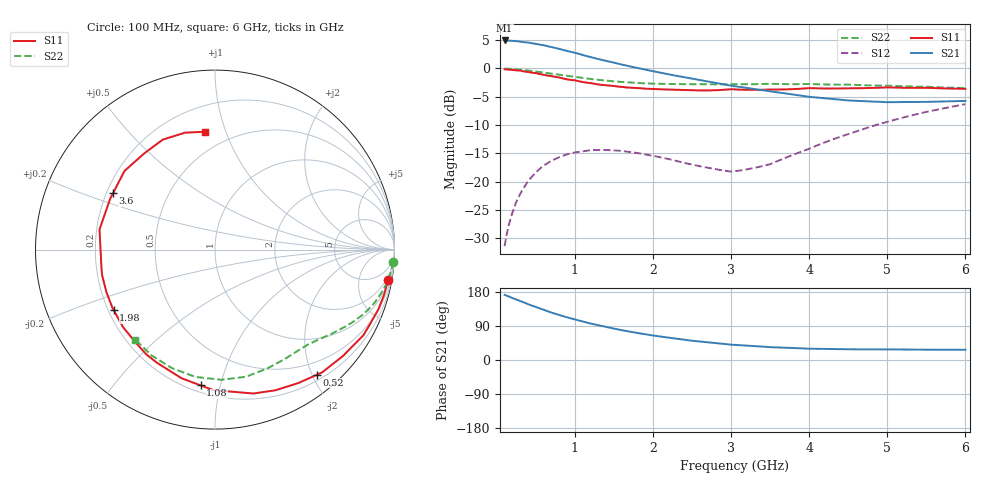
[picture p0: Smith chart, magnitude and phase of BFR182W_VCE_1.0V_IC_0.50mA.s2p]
! Infineon Technologies  Discrete & RF Semiconductors
! BFR182W
! VCE =  1.0 V,  IC = 0.50 mA
! Common Emitter S-Parameters:  Nov 2015
# GHz  S  MA  R  50
!  f  S11  S21  S12  S22
! GHz  MAG  ANG  MAG  ANG  MAG  ANG  MAG  ANG
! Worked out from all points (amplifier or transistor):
!   192 points, 100 MHz to 6 GHz, reference 50 ohm
!   highest |S21| = 4.9 dB at 100 MHz (marker M1)
!   |S21| within 3 dB of that: start of sweep to 1.22 GHz
!   unconditionally stable (mu >= 1): 2.374 GHz to 3.778 GHz
!   at 440 MHz: K = 0.19, MSG = 11.9 dB, |S12| = -19.3 dB
!   at 1.7 GHz: K = 0.70, MSG = 7.6 dB, |S12| = -14.8 dB
!   at 6 GHz: K = 0.95, MSG = 0.3 dB, |S12| = -6.3 dB
!   S11 on the Smith chart (normalised r, x): 100 MHz: 1, -11; 520 MHz: 0.28, -2.08; 1.08 GHz: 0.24, -0.87; 1.98 GHz: 0.22, -0.26; 3.6 GHz: 0.23, +0.25; 6 GHz: 0.37, +0.85
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0.1  0.9793 -10.1  1.76 171.9  0.0269 83.3  0.9948 -4.0
0.155  0.9737 -15.8  1.754 167.2  0.0417 79.9  0.9904 -6.1
0.26  0.9577 -26.1  1.733 158.7  0.0685 73.5  0.9784 -10.1
0.4  0.9271 -39.7  1.688 147.3  0.1006 65.3  0.9558 -15.0
0.52  0.8999 -50.7  1.633 138.3  0.1242 58.3  0.933 -19.0
0.66  0.86 -63.2  1.56 128.0  0.1469 51.2  0.9043 -23.1
0.8  0.8297 -75.1  1.484 118.6  0.1644 45.0  0.8754 -26.8
1  0.7835 -90.6  1.373 107.0  0.1808 37.1  0.837 -31.3
1.08  0.7607 -96.0  1.321 102.9  0.1839 34.3  0.8236 -32.9
1.1  0.7561 -97.4  1.309 101.8  0.1847 33.6  0.8203 -33.3
1.2  0.7403 -104.7  1.257 96.2  0.1893 30.3  0.8047 -35.4
1.48  0.6993 -122.1  1.129 83.6  0.1886 23.1  0.7684 -40.3
1.8  0.6702 -139.8  1.008 71.2  0.1787 18.0  0.7409 -45.4
1.98  0.6575 -149.2  0.948 65.3  0.1697 16.6  0.7329 -48.3
2.08  0.6528 -153.5  0.917 62.4  0.1645 16.4  0.7296 -49.9
2.5  0.6401 -171.5  0.811 50.8  0.1411 19.3  0.7239 -56.8
3.1  0.6483 166.9  0.686 39.2  0.1248 39.9  0.7226 -68.1
3.6  0.6493 150.9  0.613 33.2  0.1522 59.3  0.7266 -78.3
4.1  0.6649 136.5  0.552 29.5  0.2083 67.6  0.7222 -89.3
4.5  0.6654 126.3  0.52 28.1  0.2626 68.5  0.7179 -98.7
5.1  0.6752 113.2  0.503 27.9  0.3519 64.2  0.6974 -112.2
6  0.659 95.0  0.515 27.0  0.4827 53.5  0.6698 -131.4
